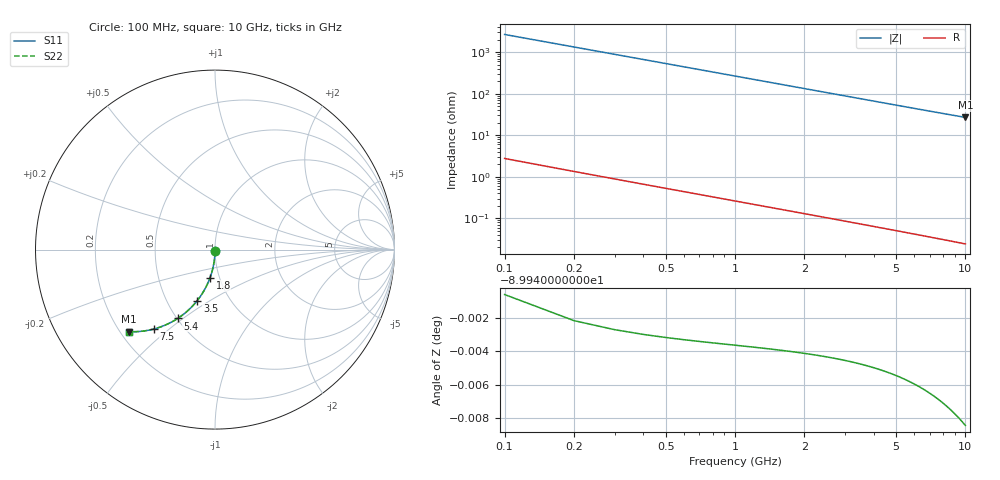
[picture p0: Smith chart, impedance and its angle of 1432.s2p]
# Hz S RI R 50.00
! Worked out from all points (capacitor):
!   100 points, 100 MHz to 10 GHz, reference 50 ohm
!   read as one part in shunt: C = 597 fF near 100 MHz
!   lowest |Z| = 26.9 ohm at 10 GHz (marker M1)
!   S11 on the Smith chart (normalised r, x): 100 MHz: 1.00, -0.02; 1.8 GHz: 0.90, -0.29; 3.5 GHz: 0.71, -0.44; 5.4 GHz: 0.50, -0.48; 7.5 GHz: 0.35, -0.44; 10 GHz: 0.23, -0.38
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1e8  -1.66e-05 -0.00897  0.9998 -0.00978  0.9998 -0.00978  -1.66e-05 -0.00897
2e8  -0.000289 -0.0179  0.9995 -0.0196  0.9995 -0.0196  -0.000289 -0.0179
3e8  -0.000736 -0.0269  0.9991 -0.0293  0.9991 -0.0293  -0.000736 -0.0269
4e8  -0.00136 -0.0359  0.9985 -0.0391  0.9985 -0.0391  -0.00136 -0.0359
5e8  -0.00216 -0.0448  0.9977 -0.0488  0.9977 -0.0488  -0.00216 -0.0448
6e8  -0.00313 -0.0537  0.9967 -0.0586  0.9967 -0.0586  -0.00313 -0.0537
8e8  -0.00559 -0.0714  0.9942 -0.0779  0.9942 -0.0779  -0.00559 -0.0714
1.1e9  -0.0106 -0.0977  0.9892 -0.1067  0.9892 -0.1067  -0.0106 -0.0977
1.4e9  -0.017 -0.1236  0.9827 -0.135  0.9827 -0.135  -0.017 -0.1236
1.8e9  -0.0279 -0.1572  0.9718 -0.1719  0.9718 -0.1719  -0.0279 -0.1572
2.1e9  -0.0376 -0.1816  0.9621 -0.1987  0.9621 -0.1987  -0.0376 -0.1816
2.5e9  -0.0526 -0.2129  0.947 -0.2333  0.947 -0.2333  -0.0526 -0.2129
2.9e9  -0.0696 -0.2426  0.9299 -0.2663  0.9299 -0.2663  -0.0696 -0.2426
3.4e9  -0.0935 -0.2771  0.9059 -0.305  0.9059 -0.305  -0.0935 -0.2771
3.5e9  -0.0986 -0.2837  0.9008 -0.3123  0.9008 -0.3123  -0.0986 -0.2837
4.3e9  -0.1422 -0.3315  0.857 -0.3669  0.857 -0.3669  -0.1422 -0.3315
5.1e9  -0.1899 -0.3711  0.8091 -0.4131  0.8091 -0.4131  -0.1899 -0.3711
5.4e9  -0.2084 -0.3837  0.7905 -0.4284  0.7905 -0.4284  -0.2084 -0.3837
6.7e9  -0.2899 -0.4258  0.7083 -0.4815  0.7083 -0.4815  -0.2899 -0.4258
7.5e9  -0.3396 -0.4421  0.6583 -0.5048  0.6583 -0.5048  -0.3396 -0.4421
8.4e9  -0.3934 -0.453  0.6039 -0.5236  0.6039 -0.5236  -0.3934 -0.453
1e10  -0.4813 -0.4568  0.5149 -0.5416  0.5149 -0.5416  -0.4813 -0.4568
